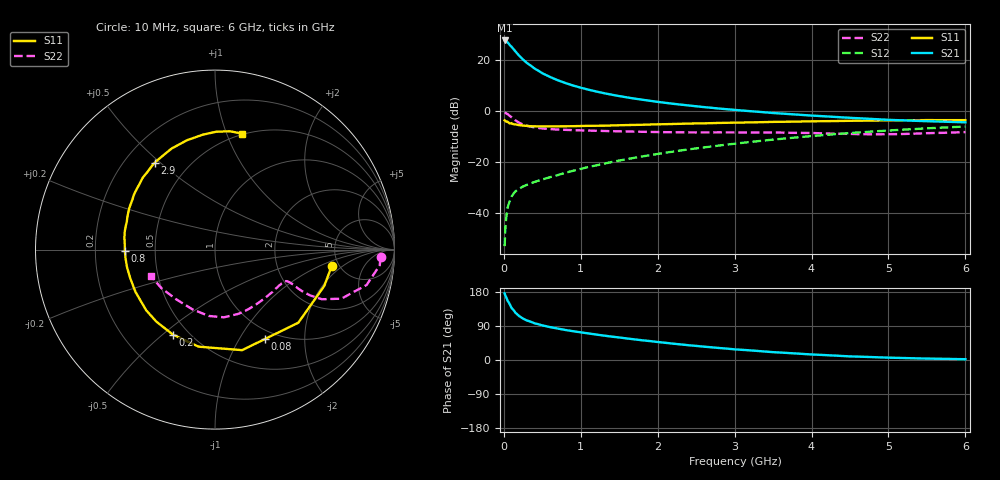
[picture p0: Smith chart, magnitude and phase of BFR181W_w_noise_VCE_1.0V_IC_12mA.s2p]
! (c) 2017  Infineon Technologies AG, Munich
! Infineon Technologies  Discrete & RF Semiconductors
! BFR181W
! VCE =  1.0 V,  IC =  12 mA
! Common Emitter S-Parameters:  Jan 2017
# GHz  S  MA  R  50
!  f  S11  S21  S12  S22
! GHz  MAG  ANG  MAG  ANG  MAG  ANG  MAG  ANG
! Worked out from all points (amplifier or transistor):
!   77 points, 10 MHz to 6 GHz, reference 50 ohm
!   highest |S21| = 27.8 dB at 10 MHz (marker M1)
!   |S21| within 3 dB of that: start of sweep to 114.8 MHz
!   unconditionally stable (mu >= 1): 414.3 MHz to end of sweep
!   at 130 MHz: K = 0.46, MSG = 28.3 dB, |S12| = -32.4 dB
!   at 2.2 GHz: K = 1.24, MAG = 6.5 dB, |S12| = -16.0 dB
!   at 6 GHz: K = 1.06, MAG = -0.7 dB, |S12| = -6.1 dB
!   lowest NFmin = 1.34 dB at 450 MHz
!   S11 on the Smith chart (normalised r, x): 10 MHz: 4.36, -1.40; 80 MHz: 0.87, -1.29; 200 MHz: 0.41, -0.54; 800 MHz: 0.33, -0.01; 2.9 GHz: 0.32, +0.48; 6 GHz: 0.49, +1.14
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0.01  0.6571 -8.0  24.5 175.9  0.0022 82.6  0.9241 -2.7
0.02  0.6414 -18.5  24.16 170.0  0.0051 84.4  0.9219 -5.4
0.05  0.6176 -41.3  22.41 156.2  0.0127 70.2  0.8677 -13.1
0.08  0.5706 -61.0  19.77 145.9  0.0175 63.8  0.7977 -17.7
0.1  0.5803 -74.9  18.45 137.5  0.0208 61.2  0.7544 -21.3
0.15  0.5485 -99.6  14.96 125.0  0.0263 54.6  0.657 -24.9
0.2  0.5284 -116.4  12.26 115.8  0.0298 51.8  0.589 -25.7
0.25  0.5175 -129.2  10.31 109.2  0.0328 51.5  0.5443 -25.6
0.3  0.5111 -138.6  8.836 104.3  0.0355 51.3  0.5122 -25.1
0.4  0.502 -152.0  6.858 96.8  0.0404 53.7  0.476 -24.1
0.5  0.4984 -161.2  5.562 91.4  0.0451 56.0  0.4548 -23.7
0.6  0.5 -168.5  4.689 86.8  0.0501 58.7  0.4424 -23.6
0.7  0.5007 -174.3  4.046 83.0  0.055 60.8  0.4332 -23.9
0.8  0.5023 -179.2  3.566 79.2  0.0612 62.9  0.4268 -24.6
1.1  0.5127 169.0  2.636 70.1  0.0796 66.9  0.4136 -28.1
1.5  0.5259 156.8  1.971 59.4  0.1064 69.4  0.3994 -34.6
2.1  0.5523 141.6  1.454 45.4  0.1513 69.3  0.3846 -47.6
2.9  0.5879 124.9  1.087 30.0  0.219 65.6  0.3806 -67.8
3.1  0.595 120.9  1.025 26.8  0.2371 64.1  0.3793 -72.8
4.1  0.6309 102.7  0.8 13.7  0.3314 55.1  0.3662 -98.3
5.1  0.6575 88.1  0.664 5.7  0.4231 43.9  0.3523 -131.4
6  0.6635 76.7  0.601 2.1  0.497 33.3  0.3867 -157.7
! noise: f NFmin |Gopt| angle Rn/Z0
0.45  1.34  0.1  16  0.21
0.9  1.38  0.1  32  0.21
1.9  1.82  0.07  -151  0.21
2.4  2.01  0.08  -113  0.26
